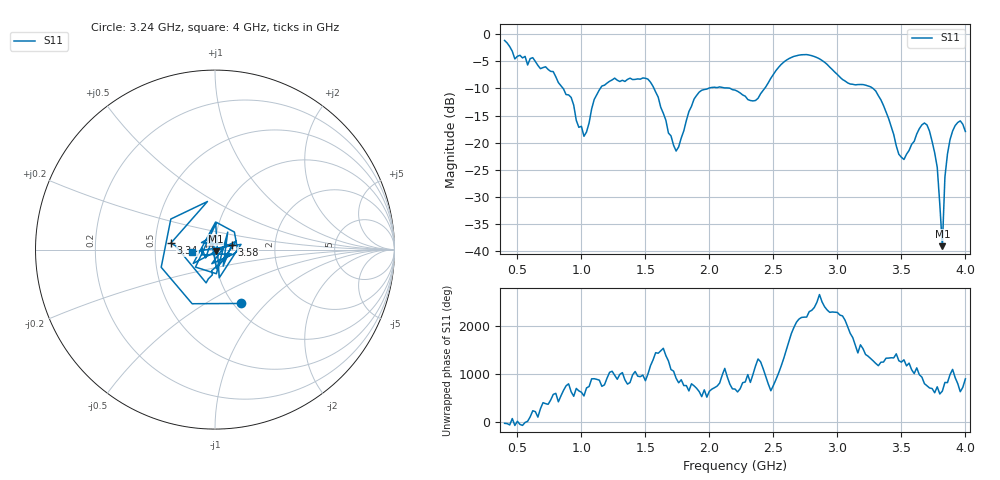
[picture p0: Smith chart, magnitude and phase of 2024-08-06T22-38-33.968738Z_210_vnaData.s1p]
!Created with skrf (http://scikit-rf.org).
# Hz S RI R 50.0
!freq ReS11 ImS11
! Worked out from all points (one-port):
!   181 points, 400 MHz to 4 GHz, reference 50 ohm
!   lowest |S11| = -39.1 dB at 3.82 GHz (marker M1), VSWR 1.02, Z = 50.4 - j1.04 ohm
!   |S11| at or under -10 dB: 857.4 MHz to 1.147 GHz (289.9 MHz wide, 28.9 % of centre); 1.567 GHz to 1.99 GHz (422.9 MHz wide, 23.8 % of centre); 3.279 GHz to end of sweep (the widest 3 of 4)
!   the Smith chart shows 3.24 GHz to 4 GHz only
!   S11 on the Smith chart (normalised r, x): 3.24 GHz: 1.09, -0.73; 3.34 GHz: 0.60, +0.05; 3.58 GHz: 1.20, +0.06; 4 GHz: 0.78, -0.02
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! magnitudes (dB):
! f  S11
! 400 MHz  -1.1
! 480 MHz  -4.6
! 620 MHz  -4.3
! 860 MHz  -10.1
! 1.02 GHz  -18.8
! 1.14 GHz  -10.3
! 1.3 GHz  -8.7
! 1.52 GHz  -8.3
! 1.76 GHz  -20.8
! 1.92 GHz  -10.7
! 2.2 GHz  -10.3
! 2.36 GHz  -12.2
! 2.66 GHz  -4.1
! 2.86 GHz  -4.5
! 3.1 GHz  -9.2
! 3.24 GHz  -9.5
! 3.34 GHz  -12.1
! 3.48 GHz  -22.1
! 3.56 GHz  -21.4
! 3.58 GHz  -20.3
! 3.66 GHz  -16.7
! 3.72 GHz  -17.9
! 3.78 GHz  -24.5
! 3.82 GHz  -39.1
! 3.84 GHz  -26.4
! 3.88 GHz  -19.4
! 3.96 GHz  -16.0
! 4 GHz  -17.9
